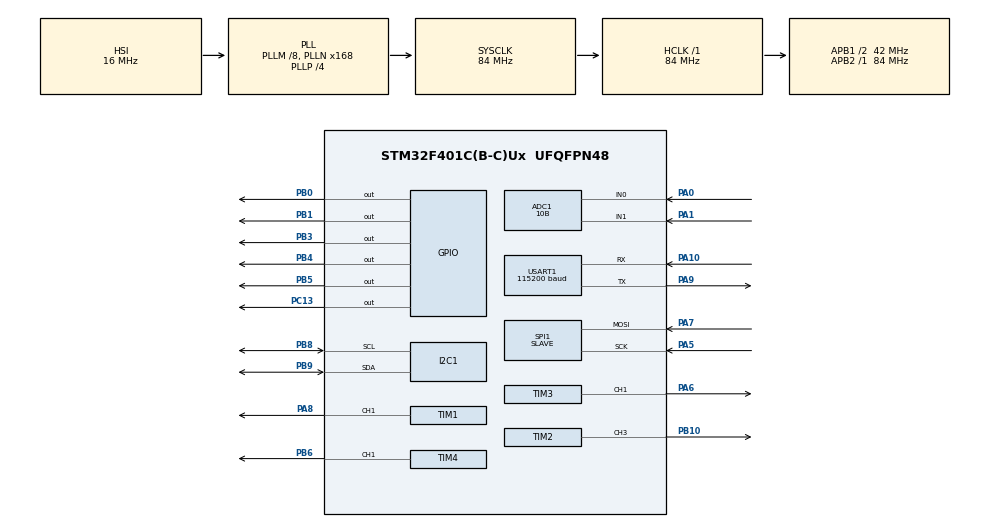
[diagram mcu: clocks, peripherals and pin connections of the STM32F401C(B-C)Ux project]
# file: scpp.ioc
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ADC1.Channel-4\#ChannelRegularConversion=ADC_CHANNEL_0
ADC1.ClockPrescaler=ADC_CLOCK_SYNC_PCLK_DIV8
ADC1.ContinuousConvMode=ENABLE
ADC1.NbrOfConversionFlag=1
ADC1.Rank-4\#ChannelRegularConversion=1
ADC1.Resolution=ADC_RESOLUTION_10B
ADC1.SamplingTime-4\#ChannelRegularConversion=ADC_SAMPLETIME_3CYCLES
ADC1.ScanConvMode=DISABLE
ADC1.master=1
I2C1.I2C_Mode=I2C_Fast
Mcu.Family=STM32F4
Mcu.Name=STM32F401C(B-C)Ux
Mcu.Package=UFQFPN48
NVIC.PriorityGroup=NVIC_PRIORITYGROUP_4
NVIC.USART1_IRQn=true\:0\:0\:false\:false\:true\:true\:true\:true
PA0-WKUP.Signal=ADCx_IN0
PA1.Signal=ADCx_IN1
PA10.Mode=Asynchronous
PA10.Signal=USART1_RX
PA5.Mode=RX_Only_Simplex_Unidirect_Slave
PA5.Signal=SPI1_SCK
PA6.Signal=S_TIM3_CH1
PA7.Mode=RX_Only_Simplex_Unidirect_Slave
PA7.Signal=SPI1_MOSI
PA8.Signal=S_TIM1_CH1
PA9.Mode=Asynchronous
PA9.Signal=USART1_TX
PB0.Signal=GPIO_Output
PB1.Signal=GPIO_Output
PB10.Signal=S_TIM2_CH3
PB3.Signal=GPIO_Output
PB4.Signal=GPIO_Output
PB5.Signal=GPIO_Output
PB6.Signal=S_TIM4_CH1
PB8.Mode=I2C
PB8.Signal=I2C1_SCL
PB9.Mode=I2C
PB9.Signal=I2C1_SDA
PC13-ANTI_TAMP.Signal=GPIO_Output
ProjectManager.HeapSize=0x200
ProjectManager.StackSize=0x400
ProjectManager.TargetToolchain=STM32CubeIDE
RCC.48MHZClocksFreq_Value=84000000
RCC.AHBFreq_Value=84000000
RCC.APB1CLKDivider=RCC_HCLK_DIV2
RCC.APB1Freq_Value=42000000
RCC.APB1TimFreq_Value=84000000
RCC.APB2Freq_Value=84000000
RCC.APB2TimFreq_Value=84000000
RCC.CortexFreq_Value=84000000
RCC.HCLKFreq_Value=84000000
RCC.HSE_VALUE=25000000
RCC.HSI_VALUE=16000000
RCC.PLLM=8
RCC.PLLN=168
RCC.PLLP=RCC_PLLP_DIV4
RCC.SYSCLKFreq_VALUE=84000000
RCC.SYSCLKSource=RCC_SYSCLKSOURCE_PLLCLK
RCC.VCOOutputFreq_Value=336000000
SH.ADCx_IN0.0=ADC1_IN0,IN0
SH.ADCx_IN1.0=ADC1_IN1,IN1
SH.S_TIM1_CH1.0=TIM1_CH1,PWM Generation1 CH1
SH.S_TIM2_CH3.0=TIM2_CH3,PWM Generation3 CH3
SH.S_TIM3_CH1.0=TIM3_CH1,PWM Generation1 CH1
SH.S_TIM4_CH1.0=TIM4_CH1,PWM Generation1 CH1
SPI1.Direction=SPI_DIRECTION_2LINES_RXONLY
SPI1.Mode=SPI_MODE_SLAVE
SPI1.VirtualType=VM_SLAVE
TIM1.Channel-PWM\ Generation1\ CH1=TIM_CHANNEL_1
TIM1.Period=39999
TIM1.Prescaler=39
TIM2.Channel-PWM\ Generation3\ CH3=TIM_CHANNEL_3
TIM2.Period=39999
TIM2.Prescaler=39
TIM3.Channel-PWM\ Generation1\ CH1=TIM_CHANNEL_1
TIM4.Channel-PWM\ Generation1\ CH1=TIM_CHANNEL_1
USART1.BaudRate=115200
USART1.VirtualMode=VM_ASYNC
VP_TIM1_VS_ClockSourceINT.Mode=Internal
VP_TIM2_VS_ClockSourceINT.Mode=Internal
VP_TIM3_VS_ClockSourceINT.Mode=Internal
VP_TIM4_VS_ClockSourceINT.Mode=Internal
board=custom

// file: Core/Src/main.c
/* USER CODE BEGIN Header */
/**
 ***********************************************
 * @file           : main.c
 * @brief          : Main program body
 ***********************************************
 * @attention
 *
 * Copyright (c) 2024 STMicroelectronics.
 * All rights reserved.
 *
 * This software is licensed under terms that can be found in the LICENSE file
 * in the root directory of this software component.
 * If no LICENSE file comes with this software, it is provided AS-IS.
 *
 ************************************************/
/* USER CODE END Header */
#include "main.h"
#include "adc.h"
#include "i2c.h"
#include "spi.h"
#include "tim.h"
#include "usart.h"
#include "gpio.h"

/* USER CODE BEGIN Includes */
#include <string.h>
#include <stdlib.h>
#include <stdio.h>
#include <math.h>
#include <inttypes.h>  // Include for uint16_t format specifiers
/* USER CODE END Includes */

/* USER CODE BEGIN PTD */
typedef struct {
	TIM_HandleTypeDef *htim;
	uint32_t channel;
	uint32_t current_pwm;
} Servo;

typedef enum {
	IDLE, ROTATING, MOVING, SPINNING
} RobotState;

typedef struct {
	float integral;
	float previous_error;
	float kp;
	float ki;
	float kd;
	float integral_limit;
	float output_limit;
} PIDController;

/* USER CODE END PTD */

/* USER CODE BEGIN PD */

/* PWM Values for Servo Control */
#define BACKWARD_MAX 800 	// Maximum backward speed
#define BACKWARD_SLOW 2800 	// Minimum backward speed
#define SERVO_STOP 3000
#define FORWARD_MAX 5100 	// Maximum forward speed
#define FORWARD_SLOW 3250 	// Minimum forward speed
/* Base Speeds for Each Motor */
#define BASE_SPEED_FORWARD 4175    // Base PWM for forward speed
#define BASE_SPEED_BACKWARD 1800   // Base PWM for backward speed
/* Maximum Correction Value */
#define MAX_CORRECTION 900      // Maximum correction value for pid

/* Thresholds and PID Gains */
#define ANGLE_THRESHOLD_ROTATE_TO_MOVE  3.0f  	// Degrees
#define ANGLE_THRESHOLD_MOVE_TO_ROTATE 30.0f  	// Degrees
#define DISTANCE_THRESHOLD_MOVE_TO_STOP 0.12f  	// Stop moving when within this distance
#define DISTANCE_THRESHOLD_STOP_TO_MOVE 0.15f	// Start moving again when beyond this distance

#define KP_ROTATION 10.0f 	// Proportional gain for rotation
#define KI_ROTATION 0.0f 	// Integral gain for rotation
#define KD_ROTATION 3.0f 	// Derivative gain for rotation

/* Maximum Integral Term */
#define MAX_INTEGRAL 1000.0f   // Limit for integral term

#define KP_MOVEMENT 15.0f	// Proportional gain for movement
#define KI_MOVEMENT 0.2f	// Integral gain for movement
#define KD_MOVEMENT 3.0f	// Derivative gain for movement

#define MAX_COORDS 100		// Maximum number of coordinates in path

#define SERIAL_SEND_INTERVAL 1000	// Interval in ms to send data over serial
/* USER CODE END PD */

/* USER CODE BEGIN PV */
Servo servo_left = { &htim1, TIM_CHANNEL_1, SERVO_STOP };
Servo servo_right = { &htim2, TIM_CHANNEL_3, SERVO_STOP };

volatile RobotState current_state = IDLE;

PIDController rotation_pid = { .integral = 0.0f, .previous_error = 0.0f, .kp =
KP_ROTATION, .ki = KI_ROTATION, .kd = KD_ROTATION, .integral_limit =
MAX_INTEGRAL, .output_limit = MAX_CORRECTION }; // Tuning for rotation
PIDController movement_pid = { .integral = 0.0f, .previous_error = 0.0f, .kp =
KP_MOVEMENT, .ki = KI_MOVEMENT, .kd = KD_MOVEMENT, .integral_limit =
MAX_INTEGRAL, .output_limit = MAX_CORRECTION }; // Tuning for movement

char rx_buffer[256];
uint8_t rx_index = 0;
volatile int rx_complete = 0;
uint8_t UART1_rxBuffer[1] = { 0 };

float current_x = 0.0f;
float current_y = 0.0f;
float current_yaw = 0.0f;

float target_x = 0.0f;
float target_y = 0.0f;
float xCoords[MAX_COORDS];
float yCoords[MAX_COORDS];
int totalCoords = 0;
int currentTargetIndex = 0;

float angle_error = 0.0f;
float calculated_correction = 0.0f;
float target_distance = 0.0f;

uint32_t last_status_send_time = 0;

int path_set = 0;  // Flag to indicate if a target has been set
int locationReceived = 0;
/* USER CODE END PV */

void SystemClock_Config(void);
/* USER CODE BEGIN PFP */
void HAL_UART_RxCpltCallback(UART_HandleTypeDef *huart);
void execute_command(const char *cmd);
void set_servo_pwm(Servo *servo, uint32_t pulse);
void handle_movement(void);
void handle_rotation(void);
float calculate_angle(float x, float y, float x_next, float y_next);
float distance_to_target(float current_x, float current_y, float target_x,
		float target_y);
float pid_controller(PIDController *pid, float setpoint, float measured_value);
void send_status_to_esp(void);

/* USER CODE END PFP */

/* USER CODE BEGIN 0 */

/**
 * @brief UART Receive Complete Callback.
 * @param huart Pointer to UART handle.
 */
void HAL_UART_RxCpltCallback(UART_HandleTypeDef *huart) {
	if (huart->Instance == USART1) {
		if (UART1_rxBuffer[0] == '\n') { // Assuming commands are newline terminated
			rx_buffer[rx_index] = '\0'; // Null terminate the string
			rx_complete = 1; // Set flag for command complete
			rx_index = 0; // Reset index
		} else {
			rx_buffer[rx_index++] = UART1_rxBuffer[0]; // Store character in buffer
		}
		HAL_UART_Receive_IT(&huart1, UART1_rxBuffer, 1); // Listen for next character
	}
}

/**
 * @brief PID Controller function.
 * @param pid Pointer to PIDController structure.
 * @param setpoint Desired setpoint.
 * @param measured_value Current measured value.
 * @return Control output.
 */
float pid_controller(PIDController *pid, float setpoint, float measured_value) {
	float error = setpoint - measured_value;
	pid->integral += error;

	// Anti-windup: Limit the integral term
	if (pid->integral > pid->integral_limit)
		pid->integral = pid->integral_limit;
	if (pid->integral < -pid->integral_limit)
		pid->integral = -pid->integral_limit;

	float derivative = error - pid->previous_error;
	pid->previous_error = error;

	float output = pid->kp * error + pid->ki * pid->integral
			+ pid->kd * derivative;

	// Limit the output to the maximum correction factor
	if (output > pid->output_limit)
		output = pid->output_limit;
	if (output < -pid->output_limit)
		output = -pid->output_limit;

	return output;
}

/**
 * @brief Handle the rotation of the robot towards the target angle.
 */
void handle_rotation() {
	float target_angle = calculate_angle(current_x, current_y, target_x,
			target_y);
	angle_error = target_angle - current_yaw;

	// Normalize the angle error to always choose the shortest rotation path
	if (angle_error > 180) {
		angle_error -= 360;
	} else if (angle_error < -180) {
		angle_error += 360;
	}

	if (fabsf(angle_error) > ANGLE_THRESHOLD_ROTATE_TO_MOVE) {
		// Normalize the angle error for rotation
		float normalized_angle_error = angle_error / 180.0f;

		// PID-based correction for rotation
		calculated_correction = pid_controller(&rotation_pid, 0.0f,
				normalized_angle_error);

		uint32_t left_right_pwm;

		if (angle_error > 0) {
			// Rotate right: Both motors move forward speed
			left_right_pwm = FORWARD_SLOW + calculated_correction;

			// Ensure PWM values are within valid ranges
			if (left_right_pwm > FORWARD_MAX)
				left_right_pwm = FORWARD_MAX;
			if (left_right_pwm < FORWARD_SLOW)
				left_right_pwm = FORWARD_SLOW;
		} else {
			// Rotate left: Both motors move backward speed
			left_right_pwm = BACKWARD_SLOW - calculated_correction;

			// Ensure PWM values are within valid ranges
			if (left_right_pwm < BACKWARD_MAX)
				left_right_pwm = BACKWARD_MAX;
			if (left_right_pwm > BACKWARD_SLOW)
				left_right_pwm = BACKWARD_SLOW;
		}

		angle_error = 0.0f; // reset angle error for better performance monitoring over udp as only handle_movement angle_error should be captured

		set_servo_pwm(&servo_left, left_right_pwm);
		set_servo_pwm(&servo_right, left_right_pwm);
	} else {
		// Stop rotating and switch to moving state
		set_servo_pwm(&servo_left, SERVO_STOP);
		set_servo_pwm(&servo_right, SERVO_STOP);
		current_state = MOVING;
	}
}

/**
 * @brief Handle the movement of the robot towards the target position.
 */
void handle_movement() {
	target_distance = distance_to_target(current_x, current_y, target_x,
			target_y);
	float target_angle = calculate_angle(current_x, current_y, target_x,
			target_y);
	angle_error = target_angle - current_yaw;

	// Normalize the angle error to [-180, 180]
	if (angle_error > 180.0f) {
		angle_error -= 360.0f;
	} else if (angle_error < -180.0f) {
		angle_error += 360.0f;
	}

	if (target_distance > DISTANCE_THRESHOLD_MOVE_TO_STOP) {
		if (fabsf(angle_error) > ANGLE_THRESHOLD_MOVE_TO_ROTATE) {
			// If the angle error is too large, switch to rotating state
			set_servo_pwm(&servo_left, SERVO_STOP);
			set_servo_pwm(&servo_right, SERVO_STOP);
			current_state = ROTATING;
			return;
		}

		// Normalize the angle error
		float normalized_angle_error = angle_error
				/ ANGLE_THRESHOLD_MOVE_TO_ROTATE;

		// PID-based correction for forward movement
		calculated_correction = pid_controller(&movement_pid, 0.0f,
				normalized_angle_error);

		// Base speeds for both motors
		uint32_t left_pwm = BASE_SPEED_FORWARD;
		uint32_t right_pwm = BASE_SPEED_BACKWARD;

		// Limit the correction to prevent excessive adjustments
		if (calculated_correction > MAX_CORRECTION)
			calculated_correction = MAX_CORRECTION;
		if (calculated_correction < -MAX_CORRECTION)
			calculated_correction = -MAX_CORRECTION;

		// Adjust PWM values based on the correction
		left_pwm += (int32_t) (calculated_correction); // Left motor PWM increases with speed
		right_pwm -= (int32_t) (calculated_correction); // Right motor PWM decreases with speed

		// Ensure PWM values are within valid ranges
		if (left_pwm > FORWARD_MAX)
			left_pwm = FORWARD_MAX;
		if (left_pwm < FORWARD_SLOW)
			left_pwm = FORWARD_SLOW;

		if (right_pwm < BACKWARD_MAX)
			right_pwm = BACKWARD_MAX;
		if (right_pwm > BACKWARD_SLOW)
			right_pwm = BACKWARD_SLOW;

		set_servo_pwm(&servo_left, left_pwm);
		set_servo_pwm(&servo_right, right_pwm);
	} else {
		// Stop the robot when it reaches the target
		set_servo_pwm(&servo_left, SERVO_STOP);
		set_servo_pwm(&servo_right, SERVO_STOP);

		current_state = ROTATING;

		// Hysteresis for distance threshold
		if (target_distance < DISTANCE_THRESHOLD_STOP_TO_MOVE) {
			currentTargetIndex++;
			if (currentTargetIndex < totalCoords) {
				target_x = xCoords[currentTargetIndex];
				target_y = yCoords[currentTargetIndex];
				float target_angle = calculate_angle(current_x, current_y,
						target_x, target_y);
				angle_error = target_angle - current_yaw;
				if (fabsf(angle_error) < ANGLE_THRESHOLD_MOVE_TO_ROTATE) {
					current_state = MOVING;
					return;
				}
			} else {
				current_state = IDLE;
				path_set = 0;
			}
		}
	}
}

/**
 * @brief Calculate the angle between the robot's orientation and the target position.
 * @param x Current x position.
 * @param y Current y position.
 * @param x_next Target x position.
 * @param y_next Target y position.
 * @return Angle in degrees.
 */
float calculate_angle(float x, float y, float x_next, float y_next) {
	// Calculation of the scalar product
	float dot_product = -y * (y_next - y);

	// Length of vectors
	float length_v1 = fabsf(y); // Since v1 is the length of (0, -y), the length corresponds to |y|
	float length_v2 = (float) sqrt(pow(x_next - x, 2) + pow(y_next - y, 2));

	// Calculating the cosine of the angle
	float cos_theta = dot_product / (length_v1 * length_v2);

	// Clamp cos_theta to [-1, 1] to avoid NaNs due to floating point errors
	if (cos_theta > 1.0f)
		cos_theta = 1.0f;
	if (cos_theta < -1.0f)
		cos_theta = -1.0f;

	// Calculation of the angle in radians and conversion to degrees
	float theta_rad = (float) acos(cos_theta);
	float theta_deg = (float) (theta_rad * (180.0 / M_PI));

	// Determining the direction
	if (x_next < x) {
		theta_deg = -theta_deg; // Negative angle if x_next is to the left of x
	}

	return theta_deg;
}

/**
 * @brief Calculate the distance to the target position.
 * @param current_x Current x position.
 * @param current_y Current y position.
 * @param target_x Target x position.
 * @param target_y Target y position.
 * @return Distance to target.
 */
float distance_to_target(float current_x, float current_y, float target_x,
		float target_y) {
	return sqrtf(
			powf(target_x - current_x, 2.0f) + powf(target_y - current_y, 2.0f));
}

/**
 * @brief Execute received command from ESP8266.
 * @param cmd The command string.
 */
void execute_command(const char *cmd) {
	if (strncmp(cmd, "STOP", 4) == 0) {
		set_servo_pwm(&servo_left, SERVO_STOP);
		set_servo_pwm(&servo_right, SERVO_STOP);
		current_state = IDLE;
	} else if (strncmp(cmd, "START_SPINNING", 14) == 0) {
		set_servo_pwm(&servo_left, FORWARD_MAX);
		set_servo_pwm(&servo_right, FORWARD_MAX);
		path_set = 0; 								// Set the path flag
		current_state = SPINNING;
	} else if (strncmp(cmd, "LOCATION_UPDATE", 15) == 0) {
		sscanf(cmd + 16, "%f;%f;%f", &current_x, &current_y, &current_yaw);
		locationReceived = 1;
		if (path_set && current_state == IDLE) {
			target_x = xCoords[currentTargetIndex];
			target_y = yCoords[currentTargetIndex];
			current_state = ROTATING;
		}
	} else if (strncmp(cmd, "PATH_UPDATE", 11) == 0) {
		memset(xCoords, 0, sizeof(xCoords));
		memset(yCoords, 0, sizeof(yCoords));
		totalCoords = 0;
		currentTargetIndex = 0;

		// Extract x and y coordinates and the amount of coordinates
		char x_values[256];  // Buffer for x values
		char y_values[256];  // Buffer for y values
		int amount_of_coordinates = 0;

		// Extract the x values, y values, and the number of coordinates
		sscanf(cmd + 12, "%[^;];%[^;];%d", x_values, y_values,
				&amount_of_coordinates);

		amount_of_coordinates = amount_of_coordinates / 2;

		// Now, x_values contains "x0:x1:x2:...", y_values contains "y0:y1:y2:...", and amount_of_coordinates is an integer
		// Ensure that the number of coordinates does not exceed MAX_COORDS
		totalCoords =
				(amount_of_coordinates > MAX_COORDS) ?
				MAX_COORDS :
														amount_of_coordinates;

		char *token;
		int index = 0;

		// Split x values by ':' and store them in an array
		token = strtok(x_values, ":");
		while (token != NULL && index < totalCoords) {
			xCoords[index++] = atof(token);
			token = strtok(NULL, ":");
		}
		if (index != totalCoords) {
			return;
		}

		// Split y values by ':' and store them in an array
		index = 0;
		token = strtok(y_values, ":");
		while (token != NULL && index < totalCoords) {
			yCoords[index++] = atof(token);
			token = strtok(NULL, ":");
		}
		if (index != totalCoords) {
			return;
		}

		path_set = 1; 				// Set the target flag
		currentTargetIndex = 0;

		if (totalCoords > 0) {
			target_x = xCoords[currentTargetIndex];
			target_y = yCoords[currentTargetIndex];
		}

		current_state = ROTATING;  	// Start with rotating to face the target
	}
}

/**
 * @brief Set the PWM value for a servo motor.
 * @param servo Pointer to the Servo structure.
 * @param pulse PWM value to set.
 */
void set_servo_pwm(Servo *servo, uint32_t pulse) {
	servo->current_pwm = pulse;
	__HAL_TIM_SET_COMPARE(servo->htim, servo->channel, pulse);
}

/**
 * @brief Send the robot's status to ESP8266.
 */
void send_status_to_esp() {
	// Increase buffer size to accommodate arrays
	char status_message[256];

	// Append basic status information
	int len =
			snprintf(status_message, sizeof(status_message),
					"STATE:%d;CURRENT_TARGET_INDEX:%d;MOTOR_L:%lu;MOTOR_R:%lu;ANGLE_ERROR:%.1f;CALCULATED_PID:%.2f;TARGET_DISTANCE:%.2f\n",
					current_state, currentTargetIndex,
					(unsigned long) servo_left.current_pwm,
					(unsigned long) servo_right.current_pwm, angle_error,
					calculated_correction, target_distance);

	// Ensure null-termination
	status_message[sizeof(status_message) - 1] = '\0';

	// Check for truncation
	if (len >= sizeof(status_message)) {
		// Handle the error: truncate, log, etc.
		char error_message[] = "ERROR: Status message truncated.\n";
		HAL_UART_Transmit(&huart1, (uint8_t*) error_message,
				strlen(error_message), HAL_MAX_DELAY);
	}

	// Transmit the status message over UART
	HAL_UART_Transmit(&huart1, (uint8_t*) status_message,
			strlen(status_message), HAL_MAX_DELAY);
}
/* USER CODE END 0 */

int main(void)
{

  /* MCU Configuration--------------------------------------------------------*/

  /* Reset of all peripherals, Initializes the Flash interface and the Systick. */
  HAL_Init();

  /* Configure the system clock */
  SystemClock_Config();

  /* Initialize all configured peripherals */
  MX_GPIO_Init();
  MX_TIM1_Init();
  MX_TIM2_Init();
  MX_USART1_UART_Init();
  MX_I2C1_Init();
  MX_ADC1_Init();
  MX_SPI1_Init();
  MX_TIM3_Init();
  MX_TIM4_Init();
  /* USER CODE BEGIN 2 */

	HAL_GPIO_WritePin(GPIOC, GPIO_PIN_13, GPIO_PIN_SET);
	HAL_Delay(2000);

	/*while (MPU6050_Init(&hi2c1) == 1); //Initialise the MPU6050
	 // calibrate MPU6050
	 for (int interations = 0; interations < CALIB; interations++) {
	 MPU6050_Read_All(&hi2c1, &MPU6050);
	 Gz_mean += MPU6050.Gz;
	 Ax_mean += MPU6050.Ax;
	 Ay_mean += MPU6050.Ay;
	 HAL_Delay(50);
	 }
	 Gz_mean /= CALIB;
	 Ax_mean /= CALIB;
	 Ay_mean /= CALIB;*/

	HAL_TIM_PWM_Init(&htim1);
	HAL_TIM_PWM_Init(&htim2);
	HAL_TIM_PWM_Start(&htim1, TIM_CHANNEL_1);
	HAL_TIM_PWM_Start(&htim2, TIM_CHANNEL_3);
	TIM1->CR1 = 0x01;
	TIM2->CR1 = 0x01;
	HAL_UART_Receive_IT(&huart1, UART1_rxBuffer, sizeof(UART1_rxBuffer)); // interrupt based

	HAL_GPIO_WritePin(GPIOC, GPIO_PIN_13, GPIO_PIN_RESET);
  /* USER CODE END 2 */

  /* Infinite loop */
  /* USER CODE BEGIN WHILE */
	while (1) {
		if (rx_complete) {
			execute_command(rx_buffer); // Process the command
			rx_complete = 0; // Reset the completion flag
		}
		switch (current_state) {
		case ROTATING:
			if (locationReceived) {
				handle_rotation();
				locationReceived = 0;
			}
			break;
		case MOVING:
			if (locationReceived) {
				handle_movement();
				locationReceived = 0;
			}
			break;
		case SPINNING:
			// Spinning is already handled in execute_command
			break;
		case IDLE:
			break;
		default:
		}

		// Send status to ESP8266 every 1000ms
		uint32_t current_time = HAL_GetTick();
		if (current_time - last_status_send_time >= SERIAL_SEND_INTERVAL) {
			last_status_send_time = current_time;
			send_status_to_esp();
		}

		HAL_Delay(10);

    /* USER CODE END WHILE */

	}
}

void SystemClock_Config(void)
{
  RCC_OscInitTypeDef RCC_OscInitStruct = {0};
  RCC_ClkInitTypeDef RCC_ClkInitStruct = {0};

  /** Configure the main internal regulator output voltage
  */
  __HAL_RCC_PWR_CLK_ENABLE();
  __HAL_PWR_VOLTAGESCALING_CONFIG(PWR_REGULATOR_VOLTAGE_SCALE2);

  /** Initializes the RCC Oscillators according to the specified parameters
  * in the RCC_OscInitTypeDef structure.
  */
  RCC_OscInitStruct.OscillatorType = RCC_OSCILLATORTYPE_HSI;
  RCC_OscInitStruct.HSIState = RCC_HSI_ON;
  RCC_OscInitStruct.HSICalibrationValue = RCC_HSICALIBRATION_DEFAULT;
  RCC_OscInitStruct.PLL.PLLState = RCC_PLL_ON;
  RCC_OscInitStruct.PLL.PLLSource = RCC_PLLSOURCE_HSI;
  RCC_OscInitStruct.PLL.PLLM = 8;
  RCC_OscInitStruct.PLL.PLLN = 168;
  RCC_OscInitStruct.PLL.PLLP = RCC_PLLP_DIV4;
  RCC_OscInitStruct.PLL.PLLQ = 4;
  if (HAL_RCC_OscConfig(&RCC_OscInitStruct) != HAL_OK)
  {
    Error_Handler();
  }

  /** Initializes the CPU, AHB and APB buses clocks
  */
  RCC_ClkInitStruct.ClockType = RCC_CLOCKTYPE_HCLK|RCC_CLOCKTYPE_SYSCLK
                              |RCC_CLOCKTYPE_PCLK1|RCC_CLOCKTYPE_PCLK2;
  RCC_ClkInitStruct.SYSCLKSource = RCC_SYSCLKSOURCE_PLLCLK;
  RCC_ClkInitStruct.AHBCLKDivider = RCC_SYSCLK_DIV1;
  RCC_ClkInitStruct.APB1CLKDivider = RCC_HCLK_DIV2;
  RCC_ClkInitStruct.APB2CLKDivider = RCC_HCLK_DIV1;

  if (HAL_RCC_ClockConfig(&RCC_ClkInitStruct, FLASH_LATENCY_2) != HAL_OK)
  {
    Error_Handler();
  }
}

void Error_Handler(void)
{
	__disable_irq();
	while (1) {
	}
}
